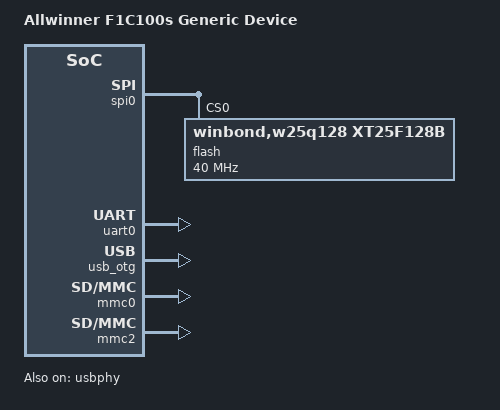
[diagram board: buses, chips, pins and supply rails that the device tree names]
// SPDX-License-Identifier: (GPL-2.0+ OR X11)
/*
 * Copyright 2018 Icenowy Zheng <icenowy@aosc.io>
 */

/dts-v1/;
#include "suniv-f1c100s.dtsi"

#include <dt-bindings/gpio/gpio.h>

/ {
	model = "Allwinner F1C100s Generic Device";
	compatible = "allwinner,suniv-f1c100s",
		     "allwinner,suniv";

	aliases {
		serial0 = &uart0;
		spi0 = &spi0;
	};

	chosen {
		stdout-path = "serial0:115200n8";
	};
};

&otg_sram {
	status = "okay";
};

&spi0 {
	pinctrl-names = "default";
	pinctrl-0 = <&spi0_pins_a>;
	status = "okay";

	flash@0 {
		#address-cells = <1>;
		#size-cells = <1>;
		compatible = "winbond,w25q128,xt25f128b", "jedec,spi-nor";
		reg = <0>;
		spi-max-frequency = <40000000>;
	};
};

&uart0 {
	pinctrl-names = "default";
	pinctrl-0 = <&uart0_pins_a>;
	status = "okay";
};

&usb_otg {
	status = "okay";
};

&usbphy {
	status = "okay";
};

&mmc0 {
	status = "okay";
};

&mmc2 {
	status = "okay";
};
